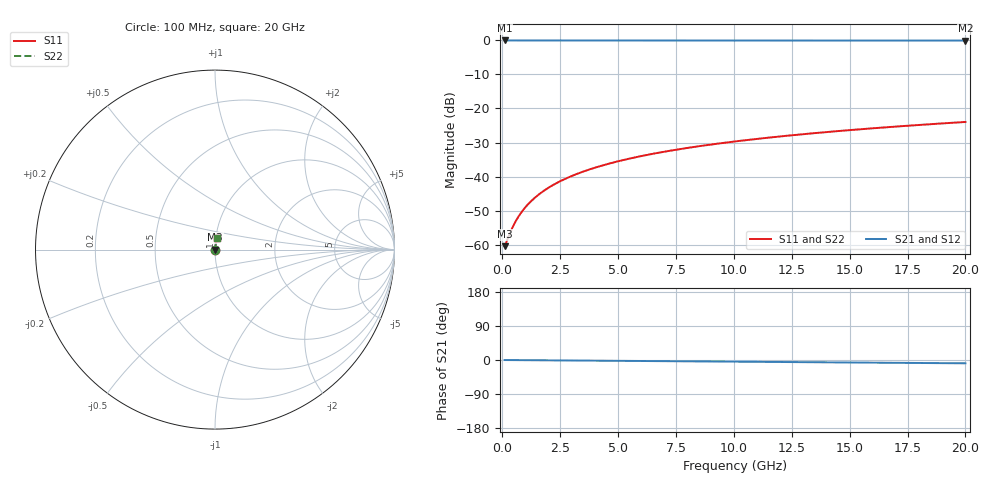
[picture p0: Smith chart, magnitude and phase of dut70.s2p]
! Touchstone file exported from HFSS 2026.1.0
!  File:  C:/ffzhzh/LocalFiles/Ansys_Project_Files/temp_train_TSV_70_1782959221_45568.aedt
!  Generated:  10:29:55 AM Jul  2, 2026
!  Design:  TSV
!  Project:  temp_train_TSV_70_1782959221_45568
! Variables:
!  h_bsmrdl = 2um
!  h_ox = 20um
!  h_rdl = 5um
!  h_sub = 82.88um
!  h_tmrdl = 5um
!  h_tsv = 82.88um
!  h_via = 3um
!  l_bsmrdl = 300um
!  l_sub = 406.66um
!  l_tmrdl = 200um
!  m_sub = 200um
!  pitch = 26.66um
!  r_tsv = 3.33um
!  s_tmrdl = 10um
!  w_bsmrdl = 18um
!  w_sub = 500um
!  w_tmrdl = 12um
!  x_tsv_center1 = 206um
!  x_tsv_center2 = 524um
!  x_tsv_center3 = 736um
!  x_tsv_center4 = 1054um
!  x_tsv_center5 = 1266um
!  x_tsv_center6 = 1584um
# GHz S MA R 50.000000
! Terminal data exported
! Port[1] = TSV1_1_T1
! Port[2] = TSV1_1_T2
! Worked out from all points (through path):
!   200 points, 100 MHz to 20 GHz, reference 50 ohm
!   highest |S21| = -0.01 dB at 100 MHz (marker M1); lowest = 0.0 dB at 20 GHz (marker M2)
!   group delay of S21, straight-line fit = 1.21 ps
!   lowest |S11| = -60.5 dB at 100 MHz (marker M3), VSWR 1.00, Z = 50.1 + j0.0356 ohm
!   |S11| at or under -10 dB: start of sweep to end of sweep
!   |S22| runs from -60.5 to -24.0 dB; largest |S21 - S12| = 4.9e-15
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0.1  0.0009492 22.0  0.9991 -0.0  0.9991 -0.0  0.0009492 22.0
! Gamma 0 0 0 0
! Port Impedance 50 0 50 0
0.4  0.001666 56.5  0.9991 -0.2  0.9991 -0.2  0.001666 56.5
0.5  0.001963 61.7  0.9991 -0.2  0.9991 -0.2  0.001963 61.7
0.6  0.00227 65.5  0.9991 -0.3  0.9991 -0.3  0.00227 65.5
0.7  0.002584 68.4  0.9991 -0.3  0.9991 -0.3  0.002584 68.4
0.9  0.003226 72.4  0.999 -0.4  0.999 -0.4  0.003226 72.4
1.1  0.003879 75.1  0.999 -0.5  0.999 -0.5  0.003879 75.1
1.3  0.004539 76.9  0.999 -0.6  0.999 -0.6  0.004539 76.9
1.7  0.005867 79.3  0.999 -0.8  0.999 -0.8  0.005867 79.3
2.2  0.007534 80.9  0.9989 -1.0  0.9989 -1.0  0.007534 80.9
2.8  0.009532 81.9  0.9988 -1.3  0.9988 -1.3  0.009532 81.9
3.5  0.01185 82.4  0.9987 -1.6  0.9987 -1.6  0.01185 82.4
4.2  0.01415 82.7  0.9986 -1.9  0.9986 -1.9  0.01415 82.7
5  0.01676 82.7  0.9984 -2.2  0.9984 -2.2  0.01676 82.7
5.9  0.01967 82.6  0.9982 -2.6  0.9982 -2.6  0.01967 82.6
6.8  0.02255 82.5  0.998 -3.0  0.998 -3.0  0.02255 82.5
8.3  0.02731 82.1  0.9976 -3.7  0.9976 -3.7  0.02731 82.1
10.1  0.03295 81.6  0.9972 -4.5  0.9972 -4.5  0.03295 81.6
11.7  0.03793 81.1  0.9968 -5.2  0.9968 -5.2  0.03793 81.1
13.4  0.0432 80.6  0.9964 -5.9  0.9964 -5.9  0.0432 80.6
16.7  0.05335 79.5  0.9956 -7.3  0.9956 -7.3  0.05335 79.5
20  0.06343 78.3  0.9948 -8.7  0.9948 -8.7  0.06343 78.3
